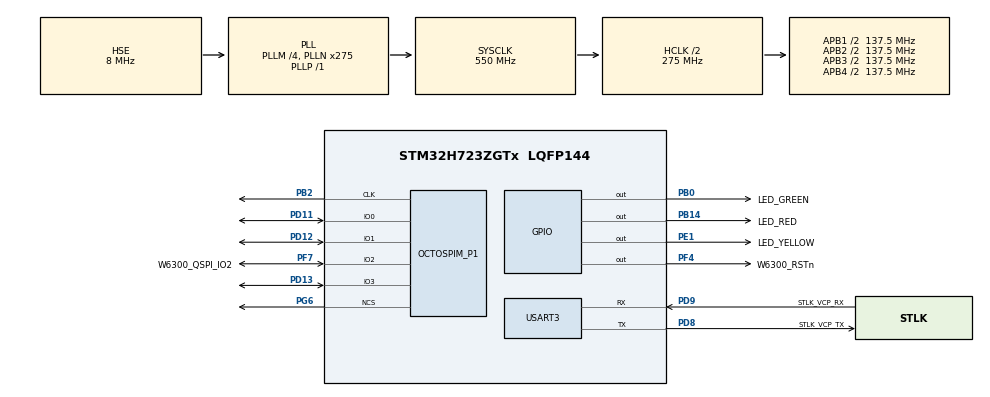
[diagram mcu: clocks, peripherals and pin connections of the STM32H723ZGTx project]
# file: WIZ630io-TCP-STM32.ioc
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Mcu.Family=STM32H7
Mcu.Name=STM32H723ZGTx
Mcu.Package=LQFP144
NVIC.PriorityGroup=NVIC_PRIORITYGROUP_4
OCTOSPI1.ChipSelectHighTime=2
OCTOSPI1.ClockMode=HAL_OSPI_CLOCK_MODE_3
OCTOSPI1.ClockPrescaler=3
OCTOSPI1.DelayBlockBypass=HAL_OSPI_DELAY_BLOCK_BYPASSED
OCTOSPI1.DeviceSize=17
OCTOSPI1.FifoThreshold=1
OCTOSPI1.MemoryType=HAL_OSPI_MEMTYPE_MICRON
OCTOSPI1.SampleShifting=HAL_OSPI_SAMPLE_SHIFTING_NONE
PA13(JTMS/SWDIO).GPIO_Label=SWDIO
PA13(JTMS/SWDIO).Mode=Trace_Asynchronous_SW
PA13(JTMS/SWDIO).Signal=DEBUG_JTMS-SWDIO
PA14(JTCK/SWCLK).GPIO_Label=SWCLK
PA14(JTCK/SWCLK).Mode=Trace_Asynchronous_SW
PA14(JTCK/SWCLK).Signal=DEBUG_JTCK-SWCLK
PB0.GPIO_Label=LED_GREEN
PB0.Signal=GPIO_Output
PB14.GPIO_Label=LED_RED
PB14.Signal=GPIO_Output
PB2.Mode=O1_P1_CLK
PB2.Signal=OCTOSPIM_P1_CLK
PD11.Mode=OCTOSPI1_IOL_Port1L
PD11.Signal=OCTOSPIM_P1_IO0
PD12.Mode=OCTOSPI1_IOL_Port1L
PD12.Signal=OCTOSPIM_P1_IO1
PD13.Mode=OCTOSPI1_IOL_Port1L
PD13.Signal=OCTOSPIM_P1_IO3
PD8.GPIO_Label=STLK_VCP_TX
PD8.Mode=Asynchronous
PD8.Signal=USART3_TX
PD9.GPIO_Label=STLK_VCP_RX
PD9.Mode=Asynchronous
PD9.Signal=USART3_RX
PE1.GPIO_Label=LED_YELLOW
PE1.Signal=GPIO_Output
PF4.GPIO_Label=W6300_RSTn
PF4.Signal=GPIO_Output
PF7.GPIO_Label=W6300_QSPI_IO2
PF7.Mode=OCTOSPI1_IOL_Port1L
PF7.Signal=OCTOSPIM_P1_IO2
PG6.Mode=OCTOSPI1_Port1_NCS
PG6.Signal=OCTOSPIM_P1_NCS
PH0-OSC_IN.GPIO_Label=MCO
PH0-OSC_IN.Mode=HSE-External-Clock-Source
PH0-OSC_IN.Signal=RCC_OSC_IN
PH1-OSC_OUT.Signal=RCC_OSC_OUT
ProjectManager.HeapSize=0x200
ProjectManager.StackSize=0x400
ProjectManager.TargetToolchain=STM32CubeIDE
RCC.ADCFreq_Value=120000000
RCC.APB1Freq_Value=137500000
RCC.APB2Freq_Value=137500000
RCC.APB3Freq_Value=137500000
RCC.APB4Freq_Value=137500000
RCC.CortexFreq_Value=550000000
RCC.D1PPRE=RCC_APB3_DIV2
RCC.D2PPRE1=RCC_APB1_DIV2
RCC.D2PPRE2=RCC_APB2_DIV2
RCC.D3PPRE=RCC_APB4_DIV2
RCC.DIVM1=4
RCC.DIVM2=1
RCC.DIVN1=275
RCC.DIVN2=30
RCC.DIVP1=1
RCC.DIVQ1=4
RCC.HCLKFreq_Value=275000000
RCC.HPRE=RCC_HCLK_DIV2
RCC.HSE_VALUE=8000000
RCC.PLLFRACN=0
RCC.PLLSourceVirtual=RCC_PLLSOURCE_HSE
RCC.QSPICLockSelection=RCC_OSPICLKSOURCE_PLL2
RCC.SYSCLKFreq_VALUE=550000000
RCC.SYSCLKSource=RCC_SYSCLKSOURCE_PLLCLK
RCC.USBFreq_Value=137500000
USART3.VirtualMode-Asynchronous=VM_ASYNC
VP_MEMORYMAP_VS_MEMORYMAP.Mode=CurAppReg
VP_OCTOSPI1_VS_quad.Mode=quad_mode
board=NUCLEO-H723ZG

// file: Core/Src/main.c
/* USER CODE BEGIN Header */
/**
  ******************************************************************************
  * @file           : main.c
  * @brief          : STM32H723 W6300 TCP loopback entry point
  ******************************************************************************
  */
/* USER CODE END Header */
#include "main.h"

/* USER CODE BEGIN Includes */
#include <stdio.h>

#include "app_config.h"
#include "w6300_app.h"
#include "w6300_port.h"
/* USER CODE END Includes */

OSPI_HandleTypeDef hospi1;

UART_HandleTypeDef huart3;

void SystemClock_Config(void);
static void MX_GPIO_Init(void);
static void MX_USART3_UART_Init(void);
static void MX_OCTOSPI1_Init(void);

int main(void)
{

  /* USER CODE BEGIN 1 */
  bool app_initialized;
  uint32_t next_init_retry;
  /* USER CODE END 1 */

  /* MCU Configuration--------------------------------------------------------*/

  /* Reset of all peripherals, Initializes the Flash interface and the Systick. */
  HAL_Init();

  /* Configure the system clock */
  SystemClock_Config();

  /* Initialize all configured peripherals */
  MX_GPIO_Init();
  MX_USART3_UART_Init();
  MX_OCTOSPI1_Init();
  /* USER CODE BEGIN 2 */
  printf("W6300 TCP loopback firmware start\r\n");
  app_initialized = w6300_app_init();
  next_init_retry = HAL_GetTick() + APP_INIT_RETRY_MS;
  if (!app_initialized) {
    printf("[W6300] initialization failed; retrying\r\n");
    HAL_GPIO_WritePin(LED_RED_GPIO_Port, LED_RED_Pin, GPIO_PIN_SET);
  }
  /* USER CODE END 2 */

  /* Infinite loop */
  /* USER CODE BEGIN WHILE */
    while (1) {
      if (app_initialized) {
      w6300_app_poll();
    } else if ((int32_t)(HAL_GetTick() - next_init_retry) >= 0) {
      app_initialized = w6300_app_init();
      next_init_retry = HAL_GetTick() + APP_INIT_RETRY_MS;
      if (app_initialized) {
        HAL_GPIO_WritePin(LED_RED_GPIO_Port, LED_RED_Pin, GPIO_PIN_RESET);
      } else {
        printf("[W6300] initialization retry failed\r\n");
      }
    }
    HAL_Delay(1U);
    /* USER CODE END WHILE */

  }
}

void SystemClock_Config(void)
{
  RCC_OscInitTypeDef RCC_OscInitStruct = {0};
  RCC_ClkInitTypeDef RCC_ClkInitStruct = {0};

  /** Supply configuration update enable
  */
  HAL_PWREx_ConfigSupply(PWR_LDO_SUPPLY);

  /** Configure the main internal regulator output voltage
  */
  __HAL_PWR_VOLTAGESCALING_CONFIG(PWR_REGULATOR_VOLTAGE_SCALE0);

  while(!__HAL_PWR_GET_FLAG(PWR_FLAG_VOSRDY)) {}

  /** Initializes the RCC Oscillators according to the specified parameters
  * in the RCC_OscInitTypeDef structure.
  */
  RCC_OscInitStruct.OscillatorType = RCC_OSCILLATORTYPE_HSE;
  RCC_OscInitStruct.HSEState = RCC_HSE_BYPASS;
  RCC_OscInitStruct.PLL.PLLState = RCC_PLL_ON;
  RCC_OscInitStruct.PLL.PLLSource = RCC_PLLSOURCE_HSE;
  RCC_OscInitStruct.PLL.PLLM = 4;
  RCC_OscInitStruct.PLL.PLLN = 275;
  RCC_OscInitStruct.PLL.PLLP = 1;
  RCC_OscInitStruct.PLL.PLLQ = 4;
  RCC_OscInitStruct.PLL.PLLR = 2;
  RCC_OscInitStruct.PLL.PLLRGE = RCC_PLL1VCIRANGE_1;
  RCC_OscInitStruct.PLL.PLLVCOSEL = RCC_PLL1VCOWIDE;
  RCC_OscInitStruct.PLL.PLLFRACN = 0;
  if (HAL_RCC_OscConfig(&RCC_OscInitStruct) != HAL_OK)
  {
    Error_Handler();
  }

  /** Initializes the CPU, AHB and APB buses clocks
  */
  RCC_ClkInitStruct.ClockType = RCC_CLOCKTYPE_HCLK|RCC_CLOCKTYPE_SYSCLK
                              |RCC_CLOCKTYPE_PCLK1|RCC_CLOCKTYPE_PCLK2
                              |RCC_CLOCKTYPE_D3PCLK1|RCC_CLOCKTYPE_D1PCLK1;
  RCC_ClkInitStruct.SYSCLKSource = RCC_SYSCLKSOURCE_PLLCLK;
  RCC_ClkInitStruct.SYSCLKDivider = RCC_SYSCLK_DIV1;
  RCC_ClkInitStruct.AHBCLKDivider = RCC_HCLK_DIV2;
  RCC_ClkInitStruct.APB3CLKDivider = RCC_APB3_DIV2;
  RCC_ClkInitStruct.APB1CLKDivider = RCC_APB1_DIV2;
  RCC_ClkInitStruct.APB2CLKDivider = RCC_APB2_DIV2;
  RCC_ClkInitStruct.APB4CLKDivider = RCC_APB4_DIV2;

  if (HAL_RCC_ClockConfig(&RCC_ClkInitStruct, FLASH_LATENCY_3) != HAL_OK)
  {
    Error_Handler();
  }
}

static void MX_OCTOSPI1_Init(void)
{

  OSPIM_CfgTypeDef sOspiManagerCfg = {0};

  /* OCTOSPI1 parameter configuration*/
  hospi1.Instance = OCTOSPI1;
  hospi1.Init.FifoThreshold = 1;
  hospi1.Init.DualQuad = HAL_OSPI_DUALQUAD_DISABLE;
  hospi1.Init.MemoryType = HAL_OSPI_MEMTYPE_MICRON;
  hospi1.Init.DeviceSize = 17;
  hospi1.Init.ChipSelectHighTime = 2;
  hospi1.Init.FreeRunningClock = HAL_OSPI_FREERUNCLK_DISABLE;
  hospi1.Init.ClockMode = HAL_OSPI_CLOCK_MODE_3;
  hospi1.Init.WrapSize = HAL_OSPI_WRAP_NOT_SUPPORTED;
  hospi1.Init.ClockPrescaler = 3;
  hospi1.Init.SampleShifting = HAL_OSPI_SAMPLE_SHIFTING_NONE;
  hospi1.Init.DelayHoldQuarterCycle = HAL_OSPI_DHQC_DISABLE;
  hospi1.Init.ChipSelectBoundary = 0;
  hospi1.Init.DelayBlockBypass = HAL_OSPI_DELAY_BLOCK_BYPASSED;
  hospi1.Init.MaxTran = 0;
  hospi1.Init.Refresh = 0;
  if (HAL_OSPI_Init(&hospi1) != HAL_OK)
  {
    Error_Handler();
  }
  sOspiManagerCfg.ClkPort = 1;
  sOspiManagerCfg.NCSPort = 1;
  sOspiManagerCfg.IOLowPort = HAL_OSPIM_IOPORT_1_LOW;
  if (HAL_OSPIM_Config(&hospi1, &sOspiManagerCfg, HAL_OSPI_TIMEOUT_DEFAULT_VALUE) != HAL_OK)
  {
    Error_Handler();
  }

}

static void MX_USART3_UART_Init(void)
{

  huart3.Instance = USART3;
  huart3.Init.BaudRate = 115200;
  huart3.Init.WordLength = UART_WORDLENGTH_8B;
  huart3.Init.StopBits = UART_STOPBITS_1;
  huart3.Init.Parity = UART_PARITY_NONE;
  huart3.Init.Mode = UART_MODE_TX_RX;
  huart3.Init.HwFlowCtl = UART_HWCONTROL_NONE;
  huart3.Init.OverSampling = UART_OVERSAMPLING_16;
  huart3.Init.OneBitSampling = UART_ONE_BIT_SAMPLE_DISABLE;
  huart3.Init.ClockPrescaler = UART_PRESCALER_DIV1;
  huart3.AdvancedInit.AdvFeatureInit = UART_ADVFEATURE_NO_INIT;
  if (HAL_UART_Init(&huart3) != HAL_OK)
  {
    Error_Handler();
  }
  if (HAL_UARTEx_SetTxFifoThreshold(&huart3, UART_TXFIFO_THRESHOLD_1_8) != HAL_OK)
  {
    Error_Handler();
  }
  if (HAL_UARTEx_SetRxFifoThreshold(&huart3, UART_RXFIFO_THRESHOLD_1_8) != HAL_OK)
  {
    Error_Handler();
  }
  if (HAL_UARTEx_DisableFifoMode(&huart3) != HAL_OK)
  {
    Error_Handler();
  }

}

static void MX_GPIO_Init(void)
{
  GPIO_InitTypeDef GPIO_InitStruct = {0};

  /* GPIO Ports Clock Enable */
  __HAL_RCC_GPIOF_CLK_ENABLE();
  __HAL_RCC_GPIOH_CLK_ENABLE();
  __HAL_RCC_GPIOB_CLK_ENABLE();
  __HAL_RCC_GPIOD_CLK_ENABLE();
  __HAL_RCC_GPIOG_CLK_ENABLE();
  __HAL_RCC_GPIOA_CLK_ENABLE();
  __HAL_RCC_GPIOE_CLK_ENABLE();

  /*Configure GPIO pin Output Level */
  HAL_GPIO_WritePin(W6300_RSTn_GPIO_Port, W6300_RSTn_Pin, GPIO_PIN_RESET);

  /*Configure GPIO pin Output Level */
  HAL_GPIO_WritePin(GPIOB, LED_GREEN_Pin|LED_RED_Pin, GPIO_PIN_RESET);

  /*Configure GPIO pin Output Level */
  HAL_GPIO_WritePin(LED_YELLOW_GPIO_Port, LED_YELLOW_Pin, GPIO_PIN_RESET);

  /*Configure GPIO pin : W6300_RSTn_Pin */
  GPIO_InitStruct.Pin = W6300_RSTn_Pin;
  GPIO_InitStruct.Mode = GPIO_MODE_OUTPUT_PP;
  GPIO_InitStruct.Pull = GPIO_NOPULL;
  GPIO_InitStruct.Speed = GPIO_SPEED_FREQ_LOW;
  HAL_GPIO_Init(W6300_RSTn_GPIO_Port, &GPIO_InitStruct);

  /*Configure GPIO pins : LED_GREEN_Pin LED_RED_Pin */
  GPIO_InitStruct.Pin = LED_GREEN_Pin|LED_RED_Pin;
  GPIO_InitStruct.Mode = GPIO_MODE_OUTPUT_PP;
  GPIO_InitStruct.Pull = GPIO_NOPULL;
  GPIO_InitStruct.Speed = GPIO_SPEED_FREQ_LOW;
  HAL_GPIO_Init(GPIOB, &GPIO_InitStruct);

  /*Configure GPIO pin : LED_YELLOW_Pin */
  GPIO_InitStruct.Pin = LED_YELLOW_Pin;
  GPIO_InitStruct.Mode = GPIO_MODE_OUTPUT_PP;
  GPIO_InitStruct.Pull = GPIO_NOPULL;
  GPIO_InitStruct.Speed = GPIO_SPEED_FREQ_LOW;
  HAL_GPIO_Init(LED_YELLOW_GPIO_Port, &GPIO_InitStruct);

}

/* USER CODE BEGIN 4 */
int __io_putchar(int character)
{
  uint8_t byte = (uint8_t)character;
  if (HAL_UART_Transmit(&huart3, &byte, 1U, 100U) != HAL_OK) {
    return EOF;
  }
  return character;
}
/* USER CODE END 4 */

void Error_Handler(void)
{
  /* USER CODE BEGIN Error_Handler_Debug */
  printf("[FATAL] firmware initialization failed\r\n");
  HAL_GPIO_WritePin(LED_RED_GPIO_Port, LED_RED_Pin, GPIO_PIN_SET);
  while (1) {
    HAL_Delay(500U);
    HAL_GPIO_TogglePin(LED_RED_GPIO_Port, LED_RED_Pin);
  }
  /* USER CODE END Error_Handler_Debug */
}

#ifdef  USE_FULL_ASSERT
/**
  * @brief  Reports the name of the source file and the source line number
  *         where the assert_param error has occurred.
  * @param  file: pointer to the source file name
  * @param  line: assert_param error line source number
  * @retval None
  */
void assert_failed(uint8_t *file, uint32_t line)
{
  /* USER CODE BEGIN 6 */
  printf("[ASSERT] %s:%lu\r\n", (char *)file, (unsigned long)line);
  /* USER CODE END 6 */
}
#endif /* USE_FULL_ASSERT */
